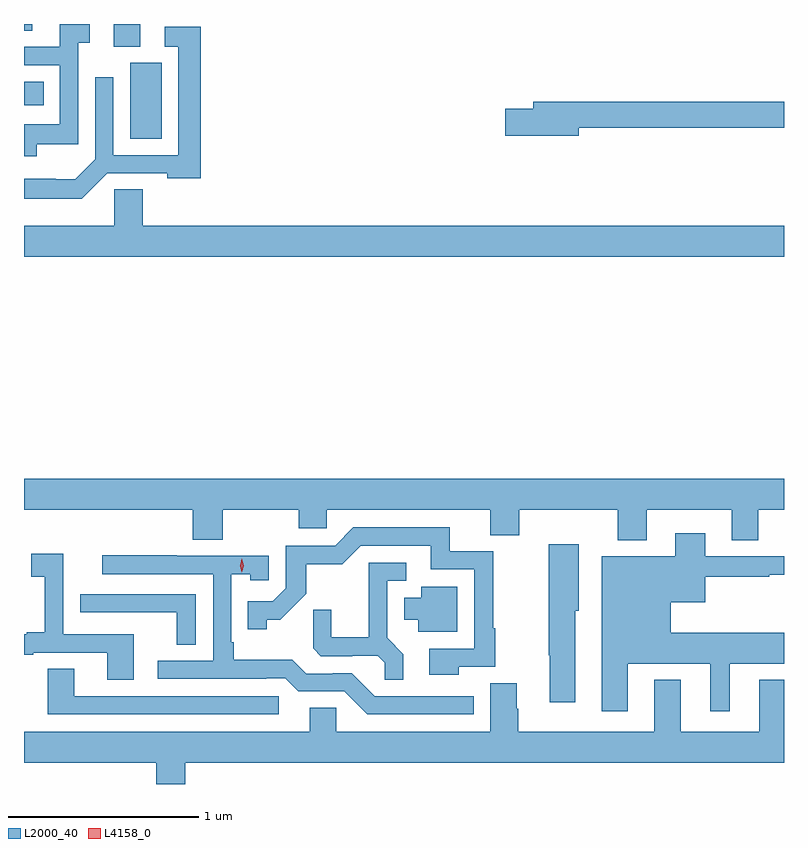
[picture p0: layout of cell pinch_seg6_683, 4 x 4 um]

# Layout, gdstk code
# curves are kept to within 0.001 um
import gdstk
lib = gdstk.Library(unit=1e-6, precision=1e-09)
def R(c, l, rs):  # rectangles x0, y0, x1, y1
    for r in rs: c.add(gdstk.rectangle(r[:2], r[2:], *l))
def P(c, l, *ps):  # polygons
    for p in ps: c.add(gdstk.Polygon(p, *l))
L2000_40 = (2000, 40)
L4158_0 = (4158, 0)

pinch_seg6_683 = lib.new_cell('pinch_seg6_683')
R(pinch_seg6_683, L2000_40, [(434.87,954.618,435.034,955.017), (434.31,954.794,434.414,954.916), (434.783,955.102,434.923,955.221), (434.31,955.186,434.353,955.221)])
P(pinch_seg6_683, L2000_40, [(434.377,954.587),(434.595,954.587),(434.595,955.122),(434.656,955.122),(434.656,955.221),(434.498,955.221),(434.498,955.101),(434.31,955.101),(434.31,955.005),(434.499,955.005),(434.499,954.694),(434.31,954.694),(434.31,954.524),(434.377,954.524)],
  [(434.748,954.435),(435.063,954.435),(435.063,954.41),(435.239,954.41),(435.239,955.207),(435.051,955.207),(435.051,955.101),(435.123,955.101),(435.123,954.531),(434.781,954.531),(434.781,954.94),(434.685,954.94),(434.685,954.51),(434.58,954.405),(434.31,954.406),(434.31,954.302),(434.615,954.302)],
  [(437.23,954.676),(438.31,954.676),(438.31,954.812),(436.991,954.812),(436.991,954.776),(436.842,954.776),(436.842,954.634),(437.23,954.634)],
  [(438.31,954.16),(434.936,954.16),(434.936,954.35),(434.785,954.35),(434.785,954.16),(434.31,954.16),(434.31,953.996),(438.31,953.996)],
  [(438.175,952.664),(438.31,952.664),(438.31,952.828),(434.31,952.828),(434.31,952.664),(435.197,952.664),(435.197,952.507),(435.357,952.507),(435.357,952.664),(435.757,952.664),(435.757,952.566),(435.903,952.566),(435.903,952.664),(436.763,952.664),(436.763,952.531),(436.916,952.531),(436.916,952.664),(437.435,952.664),(437.435,952.505),(437.587,952.505),(437.587,952.664),(438.035,952.664),(438.035,952.504),(438.175,952.504)],
  [(436.599,951.837),(436.789,951.837),(436.789,952.04),(436.781,952.04),(436.781,952.446),(436.55,952.446),(436.55,952.572),(436.044,952.572),(435.948,952.476),(435.687,952.476),(435.687,952.251),(435.618,952.182),(435.487,952.182),(435.487,952.035),(435.588,952.035),(435.588,952.085),(435.658,952.085),(435.796,952.222),(435.796,952.378),(435.985,952.378),(436.083,952.476),(436.451,952.476),(436.451,952.35),(436.68,952.35),(436.68,951.933),(436.443,951.933),(436.443,951.797),(436.599,951.797)],
  [(437.488,951.854),(437.921,951.854),(437.921,951.603),(438.025,951.603),(438.025,951.854),(438.31,951.854),(438.31,952.018),(437.713,952.018),(437.713,952.178),(437.896,952.178),(437.896,952.311),(438.233,952.311),(438.233,952.323),(438.31,952.323),(438.31,952.419),(437.896,952.419),(437.896,952.54),(437.738,952.54),(437.738,952.42),(437.351,952.42),(437.351,951.603),(437.488,951.603)],
  [(437.212,952.134),(437.23,952.134),(437.23,952.483),(437.072,952.483),(437.072,952.134),(437.071,952.134),(437.071,951.899),(437.078,951.899),(437.078,951.651),(437.212,951.651)],
  [(434.887,952.008),(434.517,952.008),(434.517,952.432),(434.349,952.432),(434.349,952.312),(434.42,952.312),(434.42,952.021),(434.324,952.021),(434.324,952.008),(434.31,952.008),(434.31,951.9),(434.359,951.9),(434.359,951.912),(434.747,951.912),(434.747,951.769),(434.887,951.769)],
  [(436.678,951.684),(436.155,951.684),(436.035,951.804),(435.934,951.804),(435.934,951.801),(435.795,951.801),(435.722,951.874),(435.415,951.874),(435.415,951.967),(435.402,951.967),(435.402,952.325),(435.501,952.325),(435.501,952.293),(435.597,952.293),(435.597,952.422),(435.113,952.422),(435.113,952.425),(434.721,952.425),(434.721,952.326),(435.306,952.326),(435.306,951.87),(435.015,951.87),(435.015,951.774),(435.584,951.774),(435.584,951.777),(435.684,951.777),(435.753,951.708),(435.996,951.708),(436.116,951.588),(436.678,951.588)],
  [(436.307,951.905),(436.221,951.991),(436.221,952.29),(436.321,952.29),(436.321,952.386),(436.124,952.386),(436.124,951.994),(435.926,951.994),(435.926,952.137),(435.832,952.137),(435.832,951.935),(435.873,951.894),(436.038,951.894),(436.038,951.897),(436.172,951.897),(436.209,951.86),(436.209,951.769),(436.307,951.769)],
  [(436.591,952.258),(436.4,952.258),(436.4,952.201),(436.31,952.201),(436.31,952.085),(436.385,952.085),(436.385,952.022),(436.591,952.022)],
  [(435.213,952.221),(434.607,952.221),(434.607,952.126),(434.719,952.126),(434.719,952.125),(435.115,952.125),(435.115,951.955),(435.213,951.955)],
  [(435.652,951.684),(434.575,951.684),(434.575,951.827),(434.435,951.827),(434.435,951.588),(435.652,951.588)],
  [(435.158,951.332),(438.31,951.332),(438.31,951.769),(438.179,951.769),(438.179,951.496),(437.767,951.496),(437.767,951.769),(437.627,951.769),(437.627,951.496),(436.911,951.496),(436.911,951.618),(436.903,951.618),(436.903,951.752),(436.763,951.752),(436.763,951.496),(435.954,951.496),(435.954,951.623),(435.815,951.623),(435.815,951.496),(434.31,951.496),(434.31,951.332),(435.007,951.332),(435.007,951.221),(435.158,951.221)])
P(pinch_seg6_683, L4158_0, [(435.457,952.335),(435.457,952.335),(435.447,952.371),(435.457,952.407),(435.457,952.407),(435.457,952.407),(435.467,952.371),(435.457,952.335)])

lib.write_gds('pinch_seg6_683.gds')
